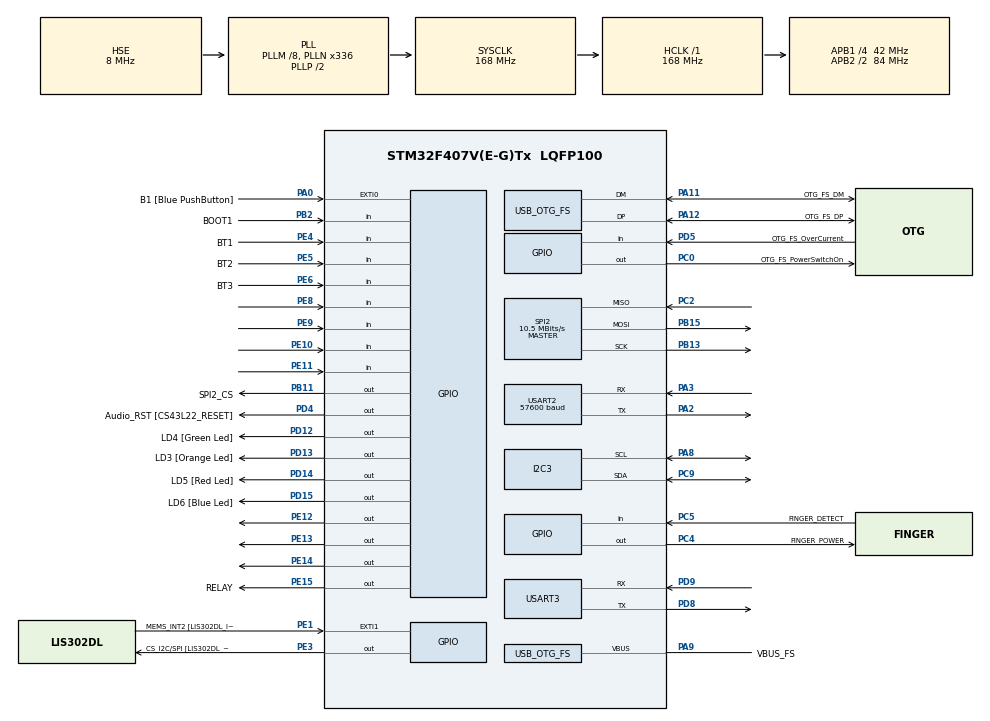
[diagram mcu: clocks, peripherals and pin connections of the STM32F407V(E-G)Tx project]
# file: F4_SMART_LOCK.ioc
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FATFS._MAX_SS=4096
FATFS._USE_LFN=1
Mcu.Family=STM32F4
Mcu.Name=STM32F407V(E-G)Tx
Mcu.Package=LQFP100
NVIC.OTG_FS_IRQn=true\:0\:0\:false\:false\:true\:true\:true\:true
NVIC.PriorityGroup=NVIC_PRIORITYGROUP_0
NVIC.TIM3_IRQn=true\:0\:0\:false\:false\:true\:true\:true\:true
PA0-WKUP.GPIO_Label=B1 [Blue PushButton]
PA0-WKUP.GPIO_ModeDefaultEXTI=GPIO_MODE_EVT_RISING
PA0-WKUP.GPIO_PuPd=GPIO_NOPULL
PA0-WKUP.Signal=GPXTI0
PA10.GPIO_Label=OTG_FS_ID
PA10.GPIO_Mode=GPIO_MODE_AF_PP
PA10.GPIO_PuPd=GPIO_NOPULL
PA10.GPIO_Speed=GPIO_SPEED_FREQ_LOW
PA10.Signal=USB_OTG_FS_ID
PA11.GPIO_Label=OTG_FS_DM
PA11.GPIO_Mode=GPIO_MODE_AF_PP
PA11.GPIO_PuPd=GPIO_NOPULL
PA11.GPIO_Speed=GPIO_SPEED_FREQ_LOW
PA11.Mode=Host_Only
PA11.Signal=USB_OTG_FS_DM
PA12.GPIO_Label=OTG_FS_DP
PA12.GPIO_Mode=GPIO_MODE_AF_PP
PA12.GPIO_PuPd=GPIO_NOPULL
PA12.GPIO_Speed=GPIO_SPEED_FREQ_LOW
PA12.Mode=Host_Only
PA12.Signal=USB_OTG_FS_DP
PA13.GPIO_Label=SWDIO
PA13.Mode=Serial_Wire
PA13.Signal=SYS_JTMS-SWDIO
PA14.GPIO_Label=SWCLK
PA14.Mode=Serial_Wire
PA14.Signal=SYS_JTCK-SWCLK
PA2.Mode=Asynchronous
PA2.Signal=USART2_TX
PA3.Mode=Asynchronous
PA3.Signal=USART2_RX
PA4.GPIO_Label=I2S3_WS [CS43L22_LRCK]
PA4.GPIO_Mode=GPIO_MODE_AF_PP
PA4.GPIO_PuPd=GPIO_NOPULL
PA4.GPIO_Speed=GPIO_SPEED_FREQ_LOW
PA4.Signal=I2S3_WS
PA5.GPIO_Label=SPI1_SCK [LIS302DL_SCL/SPC]
PA5.GPIO_Mode=GPIO_MODE_AF_PP
PA5.GPIO_PuPd=GPIO_NOPULL
PA5.GPIO_Speed=GPIO_SPEED_FREQ_LOW
PA5.Signal=SPI1_SCK
PA6.GPIO_Label=SPI1_MISO [LIS302DL_SDO]
PA6.GPIO_Mode=GPIO_MODE_AF_PP
PA6.GPIO_PuPd=GPIO_NOPULL
PA6.GPIO_Speed=GPIO_SPEED_FREQ_LOW
PA6.Signal=SPI1_MISO
PA7.GPIO_Label=SPI1_MOSI [LIS302DL_SDA/SDI/SDO]
PA7.GPIO_Mode=GPIO_MODE_AF_PP
PA7.GPIO_PuPd=GPIO_NOPULL
PA7.GPIO_Speed=GPIO_SPEED_FREQ_LOW
PA7.Signal=SPI1_MOSI
PA8.Mode=I2C
PA8.Signal=I2C3_SCL
PA9.GPIO_Label=VBUS_FS
PA9.GPIO_Mode=GPIO_MODE_INPUT
PA9.GPIO_PuPd=GPIO_NOPULL
PA9.Mode=Activate_VBUS
PA9.Signal=USB_OTG_FS_VBUS
PB10.GPIO_Label=CLK_IN [MP45DT02_CLK]
PB10.GPIO_Mode=GPIO_MODE_AF_PP
PB10.GPIO_PuPd=GPIO_NOPULL
PB10.GPIO_Speed=GPIO_SPEED_FREQ_LOW
PB10.Signal=I2S2_CK
PB11.GPIO_Label=SPI2_CS
PB11.Signal=GPIO_Output
PB13.Mode=Full_Duplex_Master
PB13.Signal=SPI2_SCK
PB15.Mode=Full_Duplex_Master
PB15.Signal=SPI2_MOSI
PB2.GPIO_Label=BOOT1
PB2.GPIO_Mode=GPIO_MODE_INPUT
PB2.GPIO_PuPd=GPIO_NOPULL
PB2.Signal=GPIO_Input
PB3.GPIO_Label=SWO
PB3.Signal=SYS_JTDO-SWO
PB6.GPIO_Label=Audio_SCL [CS43L22_SCL]
PB6.GPIO_Mode=GPIO_MODE_AF_OD
PB6.GPIO_Pu=GPIO_PULLUP
PB6.GPIO_PuPd=GPIO_NOPULL
PB6.GPIO_Speed=GPIO_SPEED_FREQ_LOW
PB6.Signal=I2C1_SCL
PB9.GPIO_Label=Audio_SDA [CS43L22_SDA]
PB9.GPIO_Mode=GPIO_MODE_AF_OD
PB9.GPIO_Pu=GPIO_PULLUP
PB9.GPIO_PuPd=GPIO_NOPULL
PB9.GPIO_Speed=GPIO_SPEED_FREQ_LOW
PB9.Signal=I2C1_SDA
PC0.GPIO_Label=OTG_FS_PowerSwitchOn
PC0.GPIO_PuPd=GPIO_NOPULL
PC0.GPIO_Speed=GPIO_SPEED_FREQ_LOW
PC0.PinState=GPIO_PIN_SET
PC0.Signal=GPIO_Output
PC10.GPIO_Label=I2S3_SCK [CS43L22_SCLK]
PC10.GPIO_Mode=GPIO_MODE_AF_PP
PC10.GPIO_PuPd=GPIO_NOPULL
PC10.GPIO_Speed=GPIO_SPEED_FREQ_LOW
PC10.Signal=I2S3_CK
PC12.GPIO_Label=I2S3_SD [CS43L22_SDIN]
PC12.GPIO_Mode=GPIO_MODE_AF_PP
PC12.GPIO_PuPd=GPIO_NOPULL
PC12.GPIO_Speed=GPIO_SPEED_FREQ_LOW
PC12.Signal=I2S3_SD
PC14-OSC32_IN.GPIO_Label=PC14-OSC32_IN
PC14-OSC32_IN.Mode=LSE-External-Oscillator
PC14-OSC32_IN.Signal=RCC_OSC32_IN
PC15-OSC32_OUT.GPIO_Label=PC15-OSC32_OUT
PC15-OSC32_OUT.Mode=LSE-External-Oscillator
PC15-OSC32_OUT.Signal=RCC_OSC32_OUT
PC2.Mode=Full_Duplex_Master
PC2.Signal=SPI2_MISO
PC3.GPIO_Label=PDM_OUT [MP45DT02_DOUT]
PC3.GPIO_Mode=GPIO_MODE_AF_PP
PC3.GPIO_PuPd=GPIO_NOPULL
PC3.GPIO_Speed=GPIO_SPEED_FREQ_LOW
PC3.Signal=I2S2_SD
PC4.GPIO_Label=FINGER_POWER
PC4.Signal=GPIO_Output
PC5.GPIO_Label=FINGER_DETECT
PC5.Signal=GPIO_Input
PC7.GPIO_Label=I2S3_MCK [CS43L22_MCLK]
PC7.GPIO_Mode=GPIO_MODE_AF_PP
PC7.GPIO_PuPd=GPIO_NOPULL
PC7.GPIO_Speed=GPIO_SPEED_FREQ_LOW
PC7.Signal=I2S3_MCK
PC9.Mode=I2C
PC9.Signal=I2C3_SDA
PD12.GPIO_Label=LD4 [Green Led]
PD12.GPIO_PuPd=GPIO_NOPULL
PD12.GPIO_Speed=GPIO_SPEED_FREQ_LOW
PD12.Signal=GPIO_Output
PD13.GPIO_Label=LD3 [Orange Led]
PD13.GPIO_PuPd=GPIO_NOPULL
PD13.GPIO_Speed=GPIO_SPEED_FREQ_LOW
PD13.Signal=GPIO_Output
PD14.GPIO_Label=LD5 [Red Led]
PD14.GPIO_PuPd=GPIO_NOPULL
PD14.GPIO_Speed=GPIO_SPEED_FREQ_LOW
PD14.Signal=GPIO_Output
PD15.GPIO_Label=LD6 [Blue Led]
PD15.GPIO_PuPd=GPIO_NOPULL
PD15.GPIO_Speed=GPIO_SPEED_FREQ_LOW
PD15.Signal=GPIO_Output
PD4.GPIO_Label=Audio_RST [CS43L22_RESET]
PD4.GPIO_PuPd=GPIO_NOPULL
PD4.GPIO_Speed=GPIO_SPEED_FREQ_LOW
PD4.Signal=GPIO_Output
PD5.GPIO_Label=OTG_FS_OverCurrent
PD5.GPIO_Mode=GPIO_MODE_INPUT
PD5.GPIO_PuPd=GPIO_NOPULL
PD5.Signal=GPIO_Input
PD8.Mode=Asynchronous
PD8.Signal=USART3_TX
PD9.Mode=Asynchronous
PD9.Signal=USART3_RX
PE1.GPIO_Label=MEMS_INT2 [LIS302DL_INT2]
PE1.GPIO_ModeDefaultEXTI=GPIO_MODE_EVT_RISING
PE1.GPIO_PuPd=GPIO_NOPULL
PE1.Signal=GPXTI1
PE10.Signal=GPIO_Input
PE11.Signal=GPIO_Input
PE12.Signal=GPIO_Output
PE13.Signal=GPIO_Output
PE14.Signal=GPIO_Output
PE15.GPIO_Label=RELAY
PE15.Signal=GPIO_Output
PE3.GPIO_Label=CS_I2C/SPI [LIS302DL_CS_I2C/SPI]
PE3.GPIO_PuPd=GPIO_NOPULL
PE3.GPIO_Speed=GPIO_SPEED_FREQ_LOW
PE3.Signal=GPIO_Output
PE4.GPIO_Label=BT1
PE4.GPIO_PuPd=GPIO_PULLUP
PE4.Signal=GPIO_Input
PE5.GPIO_Label=BT2
PE5.GPIO_PuPd=GPIO_PULLUP
PE5.Signal=GPIO_Input
PE6.GPIO_Label=BT3
PE6.GPIO_PuPd=GPIO_PULLUP
PE6.Signal=GPIO_Input
PE8.Signal=GPIO_Input
PE9.Signal=GPIO_Input
PH0-OSC_IN.GPIO_Label=PH0-OSC_IN
PH0-OSC_IN.Mode=HSE-External-Oscillator
PH0-OSC_IN.Signal=RCC_OSC_IN
PH1-OSC_OUT.GPIO_Label=PH1-OSC_OUT
PH1-OSC_OUT.Mode=HSE-External-Oscillator
PH1-OSC_OUT.Signal=RCC_OSC_OUT
ProjectManager.HeapSize=0x200
ProjectManager.StackSize=0x400
ProjectManager.TargetToolchain=MDK-ARM V5.32
RCC.48MHZClocksFreq_Value=48000000
RCC.AHBFreq_Value=168000000
RCC.APB1CLKDivider=RCC_HCLK_DIV4
RCC.APB1Freq_Value=42000000
RCC.APB1TimFreq_Value=84000000
RCC.APB2CLKDivider=RCC_HCLK_DIV2
RCC.APB2Freq_Value=84000000
RCC.APB2TimFreq_Value=168000000
RCC.CortexFreq_Value=168000000
RCC.HCLKFreq_Value=168000000
RCC.HSE_VALUE=8000000
RCC.HSI_VALUE=16000000
RCC.PLLM=8
RCC.PLLN=336
RCC.PLLQ=7
RCC.SYSCLKFreq_VALUE=168000000
RCC.SYSCLKSource=RCC_SYSCLKSOURCE_PLLCLK
RCC.VCOOutputFreq_Value=336000000
SPI2.BaudRatePrescaler=SPI_BAUDRATEPRESCALER_4
SPI2.CalculateBaudRate=10.5 MBits/s
SPI2.Direction=SPI_DIRECTION_2LINES
SPI2.Mode=SPI_MODE_MASTER
SPI2.VirtualType=VM_MASTER
TIM3.Period=9999
TIM3.Prescaler=83
USART2.BaudRate=57600
USART2.VirtualMode=VM_ASYNC
USART3.VirtualMode=VM_ASYNC
USB_HOST.BSP.number=1
USB_HOST.USBH_HandleTypeDef-CDC_FS=hUsbHostFS
USB_HOST.VirtualModeFS=Cdc
USB_HOST0.BSP.STBoard=false
USB_HOST0.BSP.api=Unknown
USB_HOST0.BSP.instance=PC0
USB_HOST0.BSP.ip=GPIO
USB_HOST0.BSP.mode=Output
USB_HOST0.BSP.name=Drive_VBUS_FS
USB_HOST0.BSP.solution=PC0
USB_OTG_FS.VirtualMode=Host_Only
USB_OTG_FS.phy_itface=HCD_PHY_EMBEDDED
VP_FATFS_VS_Generic.Mode=User_defined
VP_TIM3_VS_ClockSourceINT.Mode=Internal
VP_USB_HOST_VS_USB_HOST_CDC_FS.Mode=CDC_FS
board=STM32F407G-DISC1

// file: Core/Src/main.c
/* USER CODE BEGIN Header */
/**
  ******************************************************************************
  * @file           : main.c
  * @brief          : Main program body
  ******************************************************************************
  * @attention
  *
  * Copyright (c) 2023 STMicroelectronics.
  * All rights reserved.
  *
  * This software is licensed under terms that can be found in the LICENSE file
  * in the root directory of this software component.
  * If no LICENSE file comes with this software, it is provided AS-IS.
  *
  ******************************************************************************
  */
/* USER CODE END Header */
#include "main.h"
#include "fatfs.h"
#include "i2c.h"
#include "spi.h"
#include "tim.h"
#include "usart.h"
#include "usb_host.h"
#include "gpio.h"

/* USER CODE BEGIN Includes */
#include "buton_user.h"
#include "finger_user.h"
#include "lcd_user.h"
#include "keypad_user.h"
#include "ds1307.h"
#include "flash_F4.h"
#include "sd_user.h"
/* USER CODE END Includes */

/* USER CODE BEGIN PV */
extern struct Rtc rtc;

uint8_t stateCheckInOut;
bool stateLogin = false;
uint64_t timeWaitLogin;
uint64_t timeWaitCheckInOut;

/* USER CODE END PV */

void SystemClock_Config(void);
void MX_USB_HOST_Process(void);

/* USER CODE BEGIN 0 */
uint8_t time;
char dataKey;
uint64_t timeLed;
char timeDs1307[DS1307_MINIMAL_BUFFER_LENGTH];
bool door = false;

/* USER CODE END 0 */

int main(void)
{

  /* MCU Configuration--------------------------------------------------------*/

  /* Reset of all peripherals, Initializes the Flash interface and the Systick. */
  HAL_Init();

  /* Configure the system clock */
  SystemClock_Config();

  /* Initialize all configured peripherals */
  MX_GPIO_Init();
  MX_USB_HOST_Init();
  MX_I2C3_Init();
  MX_TIM3_Init();
  MX_USART2_UART_Init();
  MX_SPI2_Init();
  MX_FATFS_Init();
  MX_USART3_UART_Init();
  /* USER CODE BEGIN 2 */
	//HAL_Delay(1000);
	rtcInit(&hi2c3);
	//setDateTime("2023-12-28 00:07:10", DS1307_MINIMAL_BUFFER_LENGTH);					// DAT THOI GIAN
	initButton();
	lcdInit();
	initKeyPad();
	initFinger();

	//deleteFile("dataTime.txt");
	initSDCard();
//	uint8_t i = 0;
//	while(1)
//	{
//			if(save_fingerprint(i) == FINGERPRINT_OK)
//			{
//					i++;
//			}
//	}

//	getDateTime((char*)timeDs1307, DS1307_MINIMAL_BUFFER_LENGTH);
//	strcat((char*)timeDs1307, "\n");
//	writeTimeToSD((char*)timeDs1307);

  /* USER CODE END 2 */

  /* Infinite loop */
  /* USER CODE BEGIN WHILE */
  while (1)
  {

//		time = rtc.second;
		//keyPadHandle(&dataKey);

		handleButton();
		lcdHanle();
		if(HAL_GetTick() - timeLed > 500)
		{
			//writeTimeToSD("xinchao\n");
			HAL_GPIO_TogglePin(LD6_GPIO_Port, LD6_Pin);
			getDateTime((char*)timeDs1307, DS1307_MINIMAL_BUFFER_LENGTH);
			//strcat((char*)timeDs1307, "\n");
			//HAL_UART_Transmit(&huart3, timeDs1307 , strlen((char*)timeDs1307), HAL_MAX_DELAY);
			timeLed = HAL_GetTick();
		}
    /* USER CODE END WHILE */
    MX_USB_HOST_Process();

  }
}

void SystemClock_Config(void)
{
  RCC_OscInitTypeDef RCC_OscInitStruct = {0};
  RCC_ClkInitTypeDef RCC_ClkInitStruct = {0};

  /** Configure the main internal regulator output voltage
  */
  __HAL_RCC_PWR_CLK_ENABLE();
  __HAL_PWR_VOLTAGESCALING_CONFIG(PWR_REGULATOR_VOLTAGE_SCALE1);

  /** Initializes the RCC Oscillators according to the specified parameters
  * in the RCC_OscInitTypeDef structure.
  */
  RCC_OscInitStruct.OscillatorType = RCC_OSCILLATORTYPE_HSE;
  RCC_OscInitStruct.HSEState = RCC_HSE_ON;
  RCC_OscInitStruct.PLL.PLLState = RCC_PLL_ON;
  RCC_OscInitStruct.PLL.PLLSource = RCC_PLLSOURCE_HSE;
  RCC_OscInitStruct.PLL.PLLM = 8;
  RCC_OscInitStruct.PLL.PLLN = 336;
  RCC_OscInitStruct.PLL.PLLP = RCC_PLLP_DIV2;
  RCC_OscInitStruct.PLL.PLLQ = 7;
  if (HAL_RCC_OscConfig(&RCC_OscInitStruct) != HAL_OK)
  {
    Error_Handler();
  }

  /** Initializes the CPU, AHB and APB buses clocks
  */
  RCC_ClkInitStruct.ClockType = RCC_CLOCKTYPE_HCLK|RCC_CLOCKTYPE_SYSCLK
                              |RCC_CLOCKTYPE_PCLK1|RCC_CLOCKTYPE_PCLK2;
  RCC_ClkInitStruct.SYSCLKSource = RCC_SYSCLKSOURCE_PLLCLK;
  RCC_ClkInitStruct.AHBCLKDivider = RCC_SYSCLK_DIV1;
  RCC_ClkInitStruct.APB1CLKDivider = RCC_HCLK_DIV4;
  RCC_ClkInitStruct.APB2CLKDivider = RCC_HCLK_DIV2;

  if (HAL_RCC_ClockConfig(&RCC_ClkInitStruct, FLASH_LATENCY_5) != HAL_OK)
  {
    Error_Handler();
  }
}

void Error_Handler(void)
{
  __disable_irq();
  while (1)
  {
  }
}
